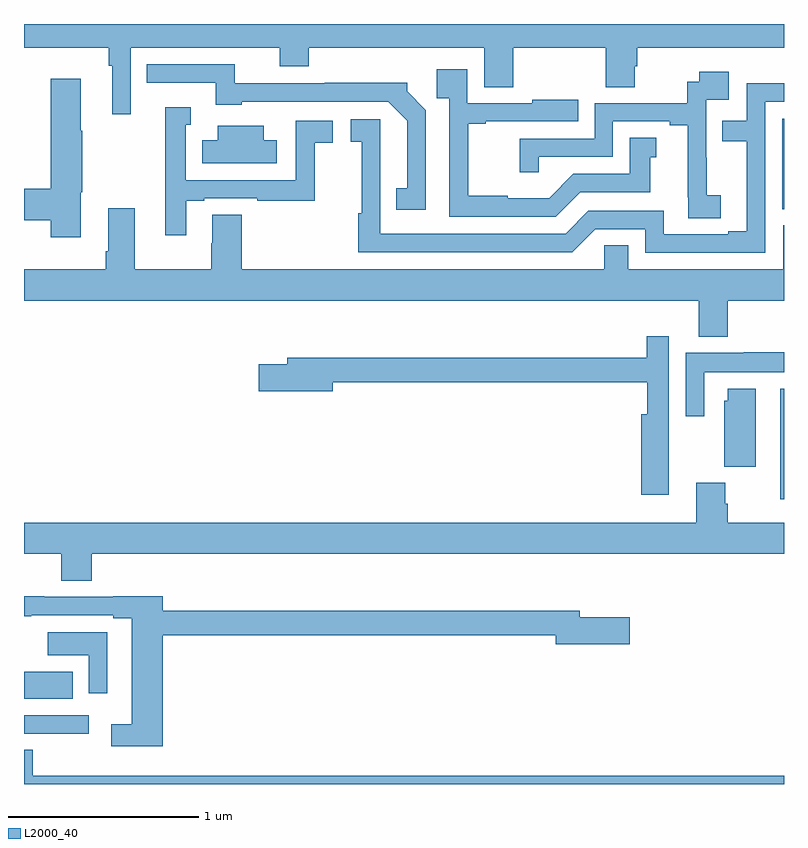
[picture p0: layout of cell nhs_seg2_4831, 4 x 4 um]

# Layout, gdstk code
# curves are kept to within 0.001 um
import gdstk
lib = gdstk.Library(unit=1e-6, precision=1e-09)
def R(c, l, rs):  # rectangles x0, y0, x1, y1
    for r in rs: c.add(gdstk.rectangle(r[:2], r[2:], *l))
def P(c, l, *ps):  # polygons
    for p in ps: c.add(gdstk.Polygon(p, *l))
L2000_40 = (2000, 40)

nhs_seg2_4831 = lib.new_cell('nhs_seg2_4831')
R(nhs_seg2_4831, L2000_40, [(375,604.065,375.34,604.161), (375,604.25,375.257,604.39), (378.98,605.3,379,605.881), (378.99,606.825,379,607.302)])
P(nhs_seg2_4831, L2000_40, [(375.561,607.676),(376.346,607.676),(376.346,607.577),(376.499,607.577),(376.499,607.676),(377.423,607.676),(377.423,607.468),(377.576,607.468),(377.576,607.676),(378.062,607.676),(378.062,607.468),(378.214,607.468),(378.214,607.578),(378.227,607.578),(378.227,607.676),(379,607.676),(379,607.8),(375,607.8),(375,607.676),(375.445,607.676),(375.445,607.58),(375.464,607.58),(375.464,607.326),(375.561,607.326)],
  [(377.115,607.346),(377.016,607.445),(377.016,607.49),(376.582,607.49),(376.582,607.488),(376.11,607.488),(376.11,607.587),(375.646,607.587),(375.646,607.491),(376.01,607.491),(376.01,607.376),(376.146,607.376),(376.146,607.392),(376.917,607.392),(377.018,607.291),(377.018,606.935),(376.96,606.935),(376.96,606.822),(377.115,606.822)],
  [(377.928,606.915),(378.295,606.915),(378.295,607.099),(378.328,607.099),(378.328,607.202),(378.188,607.202),(378.188,607.011),(377.892,607.011),(377.764,606.883),(377.546,606.883),(377.546,606.895),(377.339,606.895),(377.339,607.275),(377.431,607.275),(377.431,607.287),(377.918,607.287),(377.918,607.402),(377.675,607.402),(377.675,607.383),(377.334,607.383),(377.334,607.561),(377.173,607.561),(377.173,607.409),(377.238,607.409),(377.238,606.786),(377.799,606.786)],
  [(378.667,606.9),(378.593,606.9),(378.593,607.097),(378.591,607.097),(378.591,607.401),(378.709,607.401),(378.709,607.549),(378.553,607.549),(378.553,607.497),(378.49,607.497),(378.49,607.383),(378.003,607.383),(378.003,607.197),(377.608,607.197),(377.608,607.02),(377.709,607.02),(377.709,607.101),(378.099,607.101),(378.099,607.287),(378.398,607.287),(378.398,607.267),(378.494,607.267),(378.494,606.889),(378.496,606.889),(378.496,606.778),(378.667,606.778)],
  [(375.298,606.915),(375.306,606.915),(375.306,607.238),(375.298,607.238),(375.298,607.513),(375.14,607.513),(375.14,606.932),(375,606.932),(375,606.767),(375.14,606.767),(375.14,606.678),(375.298,606.678)],
  [(378.9,607.392),(379,607.392),(379,607.488),(378.804,607.488),(378.804,607.29),(378.676,607.29),(378.676,607.182),(378.803,607.182),(378.803,606.708),(378.707,606.708),(378.707,606.693),(378.366,606.693),(378.366,606.816),(377.97,606.816),(377.85,606.696),(376.875,606.696),(376.876,607.3),(376.719,607.3),(376.719,607.179),(376.777,607.179),(376.777,606.803),(376.759,606.803),(376.759,606.6),(377.886,606.6),(378.006,606.72),(378.27,606.72),(378.27,606.597),(378.9,606.597)],
  [(375.853,606.87),(375.949,606.87),(375.949,606.882),(376.228,606.882),(376.228,606.87),(376.53,606.87),(376.53,607.174),(376.624,607.174),(376.624,607.29),(376.431,607.29),(376.431,606.978),(375.852,606.978),(375.852,607.269),(375.877,607.269),(375.877,607.363),(375.744,607.363),(375.744,606.931),(375.743,606.931),(375.743,606.687),(375.853,606.687)],
  [(376.33,607.189),(376.261,607.189),(376.261,607.264),(376.019,607.264),(376.019,607.189),(375.937,607.189),(375.937,607.067),(376.33,607.067)],
  [(378.704,606.344),(379,606.344),(379,606.74),(378.995,606.74),(378.995,606.508),(378.181,606.508),(378.181,606.635),(378.054,606.635),(378.054,606.508),(376.145,606.508),(376.145,606.797),(375.992,606.797),(375.992,606.647),(375.985,606.647),(375.985,606.508),(375.583,606.508),(375.583,606.829),(375.443,606.829),(375.443,606.604),(375.431,606.604),(375.431,606.508),(375,606.508),(375,606.344),(378.551,606.344),(378.551,606.155),(378.704,606.155)],
  [(378.394,605.642),(378.393,605.642),(378.393,606.157),(378.277,606.157),(378.277,606.043),(376.385,606.043),(376.385,606.009),(376.236,606.009),(376.236,605.867),(376.624,605.867),(376.624,605.914),(378.281,605.914),(378.281,605.746),(378.248,605.746),(378.248,605.322),(378.394,605.322)],
  [(378.579,605.966),(379,605.966),(379,606.073),(378.787,606.073),(378.787,606.07),(378.483,606.07),(378.483,605.736),(378.579,605.736)],
  [(378.85,605.881),(378.704,605.881),(378.704,605.817),(378.686,605.817),(378.686,605.47),(378.85,605.47)],
  [(375.356,605.012),(379,605.012),(379,605.176),(378.704,605.176),(378.704,605.276),(378.691,605.276),(378.691,605.385),(378.539,605.385),(378.539,605.176),(375,605.176),(375,605.012),(375.196,605.012),(375.196,604.87),(375.356,604.87)],
  [(375.731,604.582),(377.798,604.582),(377.798,604.535),(378.187,604.535),(378.187,604.677),(377.926,604.677),(377.926,604.711),(375.731,604.711),(375.731,604.788),(375.47,604.788),(375.47,604.785),(375.107,604.785),(375.107,604.788),(375,604.788),(375,604.684),(375.038,604.684),(375.038,604.689),(375.47,604.689),(375.47,604.673),(375.566,604.673),(375.566,604.115),(375.459,604.115),(375.459,603.998),(375.731,603.998)],
  [(375.438,604.599),(375.126,604.599),(375.126,604.478),(375.342,604.478),(375.342,604.278),(375.438,604.278)],
  [(379,603.844),(375.045,603.844),(375.045,603.98),(375,603.98),(375,603.8),(379,603.8)])

lib.write_gds('nhs_seg2_4831.gds')
